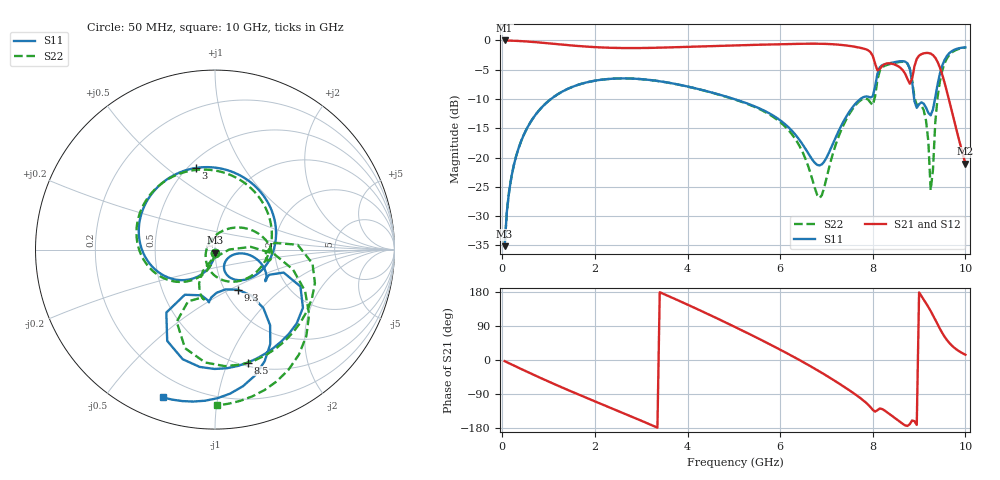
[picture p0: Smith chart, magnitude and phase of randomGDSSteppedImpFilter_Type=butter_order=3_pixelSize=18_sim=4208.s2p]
! freq	dB(S11)	phase(S11)	dB(S12)	phase(S12)
!  dB(S21)	phase(S21)	dB(S22)	phase(S22)
!S-par simulation data
#  GHz  S  DB  R 50
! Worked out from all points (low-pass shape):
!   200 points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, 50 MHz to 10 GHz, reference 50 ohm
!   highest |S21| = -0.01 dB at 50 MHz (marker M1); lowest = -21.0 dB at 10 GHz (marker M2)
!   |S21| within 3 dB of the highest: start of sweep to 8.014 GHz; 8.962 GHz to 9.353 GHz (390.8 MHz wide, 4.27 % of centre)
!   lowest |S11| = -35.1 dB at 50 MHz (marker M3), VSWR 1.04, Z = 49.9 - j1.75 ohm
!   |S11| at or under -10 dB: start of sweep to 1.051 GHz; 5.004 GHz to 7.734 GHz (2.73 GHz wide, 42.9 % of centre); 8.894 GHz to 9.343 GHz (448.3 MHz wide, 4.92 % of centre)
!   |S22| runs from -35.1 to -1.2 dB; largest |S21 - S12| = 0
!   S11 on the Smith chart (normalised r, x): 50 MHz: 1.00, -0.03; 3 GHz: 0.55, +0.64; 8.5 GHz: 0.54, -1.18; 9.3 GHz: 1.15, -0.55; 10 GHz: 0.10, -0.70
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0.05  -35.12 -93.1  -0.01 -3.0  -0.01 -3.0  -35.13 -92.9
0.2  -23.17 -102.3  -0.04 -11.7  -0.04 -11.7  -23.16 -101.6
0.5  -15.52 -120.4  -0.16 -29.0  -0.16 -29.0  -15.52 -118.5
1.75  -7.31 169.6  -1.02 -96.4  -1.02 -96.4  -7.31 176.5
3  -6.61 103.1  -1.30 -160.1  -1.30 -160.1  -6.61 115.9
3.4  -6.97 81.4  -1.24 178.8  -1.24 178.8  -6.98 95.9
4.15  -8.14 39.8  -1.05 137.7  -1.05 137.7  -8.16 56.1
5.05  -10.12 -8.9  -0.84 85.7  -0.84 85.7  -10.17 3.0
6  -13.63 -54.3  -0.65 27.3  -0.65 27.3  -13.94 -63.0
6.7  -20.42 -56.5  -0.56 -19.6  -0.56 -19.6  -23.87 -144.8
6.9  -21.16 -31.3  -0.57 -33.9  -0.57 -33.9  -26.43 135.8
7.5  -12.11 -14.0  -0.94 -80.4  -0.94 -80.4  -12.49 26.3
8.1  -5.71 -23.3  -5.12 -132.5  -5.12 -132.5  -6.73 3.4
8.35  -3.91 -59.6  -3.92 -141.5  -3.92 -141.5  -4.08 -40.4
8.5  -3.67 -73.8  -4.21 -155.1  -4.21 -155.1  -3.79 -57.8
8.85  -7.06 -127.7  -6.52 -159.5  -6.52 -159.5  -6.84 -118.0
9.05  -10.57 -96.5  -2.34 168.6  -2.34 168.6  -11.08 -104.7
9.2  -12.37 -88.0  -2.14 139.9  -2.14 139.9  -17.24 -119.5
9.25  -12.79 -75.2  -2.25 129.4  -2.25 129.4  -25.57 -104.3
9.3  -11.79 -60.3  -2.50 118.0  -2.50 118.0  -22.06 0.2
9.5  -4.31 -59.6  -5.84 71.5  -5.84 71.5  -5.15 -24.8
10  -1.17 -109.6  -21.04 13.8  -21.04 13.8  -1.23 -89.1
